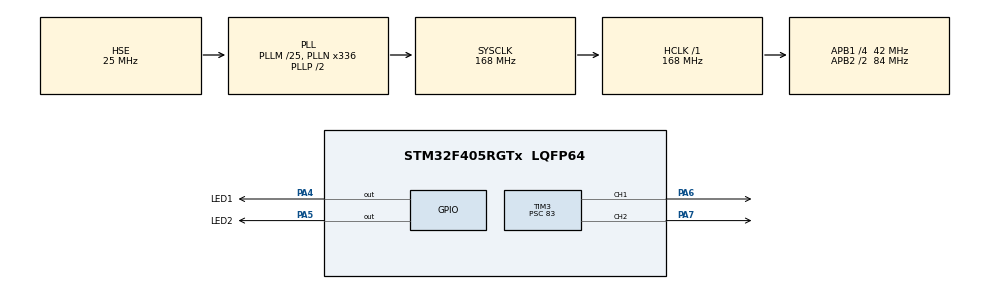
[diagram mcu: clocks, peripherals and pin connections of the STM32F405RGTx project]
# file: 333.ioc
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Mcu.Family=STM32F4
Mcu.Name=STM32F405RGTx
Mcu.Package=LQFP64
NVIC.PriorityGroup=NVIC_PRIORITYGROUP_4
NVIC.RCC_IRQn=true\:0\:0\:false\:false\:true\:true\:false\:true
NVIC.TIM2_IRQn=true\:0\:0\:false\:false\:true\:true\:true\:true
NVIC.TIM3_IRQn=true\:0\:0\:false\:false\:true\:true\:true\:true
NVIC.TIM8_UP_TIM13_IRQn=true\:15\:0\:false\:false\:true\:false\:true\:true
NVIC.TimeBase=TIM8_UP_TIM13_IRQn
NVIC.TimeBaseIP=TIM8
PA4.GPIO_Label=LED1
PA4.Signal=GPIO_Output
PA5.GPIO_Label=LED2
PA5.Signal=GPIO_Output
PA6.Signal=S_TIM3_CH1
PA7.Signal=S_TIM3_CH2
PH0-OSC_IN.Mode=HSE-External-Oscillator
PH0-OSC_IN.Signal=RCC_OSC_IN
PH1-OSC_OUT.Mode=HSE-External-Oscillator
PH1-OSC_OUT.Signal=RCC_OSC_OUT
ProjectManager.HeapSize=0x200
ProjectManager.StackSize=0x400
ProjectManager.TargetToolchain=MDK-ARM V5.32
RCC.48MHZClocksFreq_Value=84000000
RCC.AHBFreq_Value=168000000
RCC.APB1CLKDivider=RCC_HCLK_DIV4
RCC.APB1Freq_Value=42000000
RCC.APB1TimFreq_Value=84000000
RCC.APB2CLKDivider=RCC_HCLK_DIV2
RCC.APB2Freq_Value=84000000
RCC.APB2TimFreq_Value=168000000
RCC.CortexFreq_Value=168000000
RCC.HCLKFreq_Value=168000000
RCC.HSE_VALUE=25000000
RCC.HSI_VALUE=16000000
RCC.LSE_VALUE=32768
RCC.PLLM=25
RCC.PLLN=336
RCC.PLLSourceVirtual=RCC_PLLSOURCE_HSE
RCC.SYSCLKFreq_VALUE=168000000
RCC.SYSCLKSource=RCC_SYSCLKSOURCE_PLLCLK
RCC.VCOOutputFreq_Value=336000000
SH.S_TIM3_CH1.0=TIM3_CH1,PWM Generation1 CH1
SH.S_TIM3_CH2.0=TIM3_CH2,PWM Generation2 CH2
TIM2.Period=9999
TIM2.Prescaler=8399
TIM3.AutoReloadPreload=TIM_AUTORELOAD_PRELOAD_ENABLE
TIM3.Channel-PWM\ Generation1\ CH1=TIM_CHANNEL_1
TIM3.Channel-PWM\ Generation2\ CH2=TIM_CHANNEL_2
TIM3.Period=999
TIM3.Prescaler=83
VP_SYS_VS_tim8.Mode=TIM8
VP_TIM2_VS_ClockSourceINT.Mode=Internal
VP_TIM3_VS_ClockSourceINT.Mode=Internal
board=custom

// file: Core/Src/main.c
/* USER CODE BEGIN Header */
/**
  ******************************************************************************
  * @file           : main.c
  * @brief          : Main program body
  ******************************************************************************
  * @attention
  *
  * Copyright (c) 2025 STMicroelectronics.
  * All rights reserved.
  *
  * This software is licensed under terms that can be found in the LICENSE file
  * in the root directory of this software component.
  * If no LICENSE file comes with this software, it is provided AS-IS.
  *
  ******************************************************************************
  */
/* USER CODE END Header */
#include "main.h"
#include "tim.h"
#include "gpio.h"

/* USER CODE BEGIN Includes */
#include <stdio.h>
#include <EventRecorder.h>
/* USER CODE END Includes */

void SystemClock_Config(void);

/* USER CODE BEGIN 0 */
int led_count =0;
int print_count =0;
int i;
/* USER CODE END 0 */

int main(void)
{

  /* USER CODE BEGIN 1 */
	EventRecorderInitialize(EventRecordAll, 1U);
	EventRecorderStart();
  /* USER CODE END 1 */

  /* MCU Configuration--------------------------------------------------------*/

  /* Reset of all peripherals, Initializes the Flash interface and the Systick. */
  HAL_Init();

  /* Configure the system clock */
  SystemClock_Config();

  /* Initialize all configured peripherals */
  MX_GPIO_Init();
  MX_TIM2_Init();
  MX_TIM3_Init();

  /* Infinite loop */
  /* USER CODE BEGIN WHILE */
  while (1)
  {
		for(i=0 ;i<=1000 ;i+=5){
			__HAL_TIM_SetCompare(&htim3, TIM_CHANNEL_1, i);
			__HAL_TIM_SetCompare(&htim3, TIM_CHANNEL_2, 1000-i);
			HAL_Delay(10);
		}

		HAL_Delay(50);

		for(i=1000 ;i>=0 ;i-=5){
			__HAL_TIM_SetCompare(&htim3, TIM_CHANNEL_1, i);
			__HAL_TIM_SetCompare(&htim3, TIM_CHANNEL_2, 1000-i);
			HAL_Delay(10);
		}

		HAL_Delay(50);

    /* USER CODE END WHILE */

  }
}

void SystemClock_Config(void)
{
  RCC_OscInitTypeDef RCC_OscInitStruct = {0};
  RCC_ClkInitTypeDef RCC_ClkInitStruct = {0};

  /** Configure the main internal regulator output voltage
  */
  __HAL_RCC_PWR_CLK_ENABLE();
  __HAL_PWR_VOLTAGESCALING_CONFIG(PWR_REGULATOR_VOLTAGE_SCALE1);

  /** Initializes the RCC Oscillators according to the specified parameters
  * in the RCC_OscInitTypeDef structure.
  */
  RCC_OscInitStruct.OscillatorType = RCC_OSCILLATORTYPE_HSE;
  RCC_OscInitStruct.HSEState = RCC_HSE_ON;
  RCC_OscInitStruct.PLL.PLLState = RCC_PLL_ON;
  RCC_OscInitStruct.PLL.PLLSource = RCC_PLLSOURCE_HSE;
  RCC_OscInitStruct.PLL.PLLM = 25;
  RCC_OscInitStruct.PLL.PLLN = 336;
  RCC_OscInitStruct.PLL.PLLP = RCC_PLLP_DIV2;
  RCC_OscInitStruct.PLL.PLLQ = 4;
  if (HAL_RCC_OscConfig(&RCC_OscInitStruct) != HAL_OK)
  {
    Error_Handler();
  }

  /** Initializes the CPU, AHB and APB buses clocks
  */
  RCC_ClkInitStruct.ClockType = RCC_CLOCKTYPE_HCLK|RCC_CLOCKTYPE_SYSCLK
                              |RCC_CLOCKTYPE_PCLK1|RCC_CLOCKTYPE_PCLK2;
  RCC_ClkInitStruct.SYSCLKSource = RCC_SYSCLKSOURCE_PLLCLK;
  RCC_ClkInitStruct.AHBCLKDivider = RCC_SYSCLK_DIV1;
  RCC_ClkInitStruct.APB1CLKDivider = RCC_HCLK_DIV4;
  RCC_ClkInitStruct.APB2CLKDivider = RCC_HCLK_DIV2;

  if (HAL_RCC_ClockConfig(&RCC_ClkInitStruct, FLASH_LATENCY_5) != HAL_OK)
  {
    Error_Handler();
  }
}

void HAL_TIM_PeriodElapsedCallback(TIM_HandleTypeDef *htim)
{
  if (htim->Instance == TIM8)
  {
    HAL_IncTick();
  }
  /* USER CODE BEGIN Callback 1 */
  if (htim->Instance == TIM2)
  {
		if(led_count == 0)
			LED1_ON;
		else LED1_OFF;
		if(led_count == 1)
			LED2_ON;
		else LED2_OFF;

		led_count++;
		led_count = led_count%2;

		print_count++;

		if(print_count>=5)
		{
			EventStartA(0);
			printf("yee~\n");
			EventStopA(0);
			print_count = 0;
		}

  }
  /* USER CODE END Callback 1 */
}

void Error_Handler(void)
{
  __disable_irq();
  while (1)
  {
  }
}
